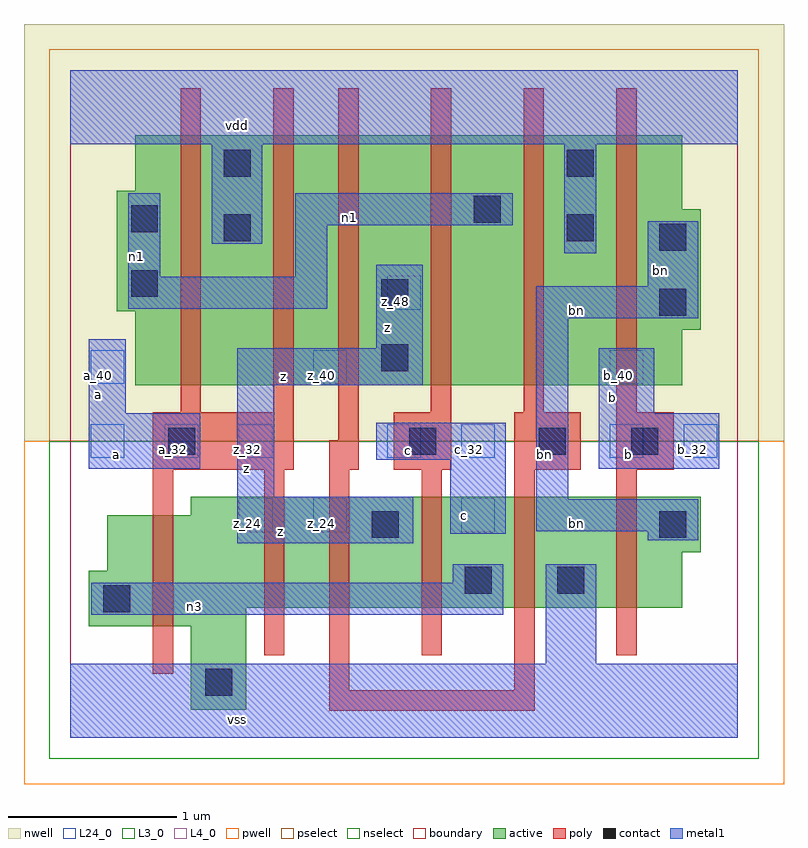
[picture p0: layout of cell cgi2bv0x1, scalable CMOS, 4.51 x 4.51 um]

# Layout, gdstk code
import gdstk
lib = gdstk.Library(unit=1e-6, precision=2.5e-09)
def R(c, l, rs):  # rectangles x0, y0, x1, y1
    for r in rs: c.add(gdstk.rectangle(r[:2], r[2:], *l))
def A(c, l, x, y, w, h, nx, ny, dx, dy):  # array of equal rectangles
    R(c, l, [(x+i*dx, y+j*dy, x+i*dx+w, y+j*dy+h) for i in range(nx) for j in range(ny)])
L3_0 = (3, 0)
L4_0 = (4, 0)
L24_0 = (24, 0)
contact = (25, 0)
pwell = (41, 0)
nwell = (42, 0)
active = (43, 0)
pselect = (44, 0)
nselect = (45, 0)
poly = (46, 0)
metal1 = (49, 0)
boundary = (63, 0)

cgi2bv0x1 = lib.new_cell('cgi2bv0x1')
R(cgi2bv0x1, L3_0, [(0.715,0.165,1.045,0.66), (0.11,0.66,1.045,0.77), (0.11,0.77,3.63,0.99), (0.22,0.99,3.63,1.1), (0.22,1.1,3.74,1.32), (0.715,1.32,3.74,1.43)])
R(cgi2bv0x1, L4_0, [(0.385,2.09,3.63,2.42), (0.385,2.42,3.74,2.53), (0.275,2.53,3.74,3.135), (0.275,3.135,3.63,3.245), (0.385,3.245,3.63,3.575)])
A(cgi2bv0x1, L24_0, 0.12, 1.66, 0.2, 0.2, 3, 1, 0.44, 0)
R(cgi2bv0x1, L24_0, [(1,1.22,1.2,1.42), (1.44,1.22,1.64,1.42), (2.32,1.22,2.52,1.42), (1.88,1.66,2.08,1.86), (2.32,1.66,2.52,1.86), (3.2,1.66,3.4,1.86), (3.64,1.66,3.84,1.86), (0.12,2.1,0.32,2.3), (1.44,2.1,1.64,2.3), (3.2,2.1,3.4,2.3), (1.88,2.54,2.08,2.74)])
R(cgi2bv0x1, contact, [(0.8,0.25,0.96,0.41), (0.195,0.745,0.355,0.905), (2.34,0.855,2.5,1.015), (2.89,0.855,3.05,1.015), (1.79,1.185,1.95,1.345), (3.495,1.185,3.655,1.345), (0.58,1.68,0.74,1.84), (2.01,1.68,2.17,1.84), (2.78,1.68,2.94,1.84), (3.33,1.68,3.49,1.84), (1.845,2.175,2.005,2.335), (3.495,2.505,3.655,2.665), (1.845,2.56,2.005,2.72), (0.36,2.615,0.52,2.775), (3.495,2.89,3.655,3.05), (0.91,2.945,1.07,3.105), (2.945,2.945,3.105,3.105), (0.36,3,0.52,3.16), (2.395,3.055,2.555,3.215), (0.91,3.33,1.07,3.49), (2.945,3.33,3.105,3.49)])
R(cgi2bv0x1, pwell, [(-0.275,-0.275,4.235,1.76)])
R(cgi2bv0x1, nwell, [(-0.275,1.76,4.235,4.235)])
R(cgi2bv0x1, active, [(0.715,0.165,1.045,0.66), (0.11,0.66,1.045,0.77), (0.11,0.77,3.63,0.99), (0.22,0.99,3.63,1.1), (0.22,1.1,3.74,1.32), (0.715,1.32,3.74,1.43), (0.385,2.09,3.63,2.42), (0.385,2.42,3.74,2.53), (0.275,2.53,3.74,3.135), (0.275,3.135,3.63,3.245), (0.385,3.245,3.63,3.575)])
R(cgi2bv0x1, pselect, [(-0.125,1.76,4.085,4.085)])
R(cgi2bv0x1, nselect, [(-0.125,-0.125,4.085,1.76)])
A(cgi2bv0x1, poly, 2.14, 1.93, 0.12, 1.925, 3, 1, 0.55, 0)
R(cgi2bv0x1, poly, [(1.535,0.16,2.755,0.28), (1.535,0.28,1.655,1.59), (2.635,0.28,2.755,1.59), (0.49,0.38,0.61,1.59), (1.15,0.49,1.27,1.59), (2.085,0.49,2.205,1.59), (3.24,0.49,3.36,1.59), (0.49,1.59,1.325,1.93), (1.535,1.59,1.71,1.765), (1.92,1.59,2.26,1.93), (2.635,1.59,3.03,1.93), (3.24,1.59,3.58,1.93), (1.59,1.765,1.71,3.855), (0.655,1.93,0.775,3.855), (1.205,1.93,1.325,3.855)])
R(cgi2bv0x1, metal1, [(0,0,3.96,0.44), (2.82,0.44,3.12,1.03), (0.125,0.73,2.57,0.92), (2.27,0.92,2.57,1.03), (0.99,1.155,2.035,1.43), (3.425,1.17,3.725,1.225), (2.255,1.21,2.585,1.65), (2.765,1.225,3.725,1.415), (2.765,1.415,2.955,2.49), (0.99,1.43,1.21,2.09), (0.11,1.595,0.77,1.925), (3.135,1.595,3.85,1.925), (1.815,1.65,2.585,1.87), (0.11,1.925,0.33,2.365), (3.135,1.925,3.465,2.31), (0.99,2.09,2.09,2.31), (1.815,2.31,2.09,2.805), (2.765,2.49,3.725,2.68), (0.345,2.545,1.525,2.735), (3.425,2.68,3.725,3.065), (0.345,2.735,0.535,3.23), (1.335,2.735,1.525,3.04), (2.93,2.875,3.12,3.52), (0.84,2.93,1.14,3.52), (1.335,3.04,2.625,3.23), (0,3.52,3.96,3.96)])
R(cgi2bv0x1, boundary, [(0,0,3.96,3.96)])
cgi2bv0x1.add(gdstk.Label('vss', (0.99,0.11), layer=49, texttype=0))
cgi2bv0x1.add(gdstk.Label('n3', (0.735,0.7775), layer=49, texttype=0))
cgi2bv0x1.add(gdstk.Label('bn', (3.005,1.2725), layer=49, texttype=0))
cgi2bv0x1.add(gdstk.Label('b', (3.3125,1.6775), layer=49, texttype=0))
cgi2bv0x1.add(gdstk.Label('b', (3.2175,2.02), layer=49, texttype=0))
cgi2bv0x1.add(gdstk.Label('bn', (2.8125,1.6825), layer=49, texttype=0))
cgi2bv0x1.add(gdstk.Label('c', (2.3375,1.32), layer=49, texttype=0))
cgi2bv0x1.add(gdstk.Label('z', (1.25,1.2225), layer=49, texttype=0))
cgi2bv0x1.add(gdstk.Label('c', (2.0075,1.705), layer=49, texttype=0))
cgi2bv0x1.add(gdstk.Label('z', (1.045,1.595), layer=49, texttype=0))
cgi2bv0x1.add(gdstk.Label('a', (0.275,1.6775), layer=49, texttype=0))
cgi2bv0x1.add(gdstk.Label('bn', (3.005,2.5375), layer=49, texttype=0))
cgi2bv0x1.add(gdstk.Label('z', (1.265,2.145), layer=49, texttype=0))
cgi2bv0x1.add(gdstk.Label('bn', (3.5,2.775), layer=49, texttype=0))
cgi2bv0x1.add(gdstk.Label('z', (1.8825,2.4325), layer=49, texttype=0))
cgi2bv0x1.add(gdstk.Label('a', (0.165,2.035), layer=49, texttype=0))
cgi2bv0x1.add(gdstk.Label('n1', (1.6575,3.0875), layer=49, texttype=0))
cgi2bv0x1.add(gdstk.Label('n1', (0.3925,2.8575), layer=49, texttype=0))
cgi2bv0x1.add(gdstk.Label('vdd', (0.99,3.63), layer=49, texttype=0))
cgi2bv0x1.add(gdstk.Label('b_32', (3.69,1.71), layer=24, texttype=0))
cgi2bv0x1.add(gdstk.Label('c_32', (2.37,1.71), layer=24, texttype=0))
cgi2bv0x1.add(gdstk.Label('b_32', (3.25,1.71), layer=24, texttype=0))
cgi2bv0x1.add(gdstk.Label('b_40', (3.25,2.15), layer=24, texttype=0))
cgi2bv0x1.add(gdstk.Label('a_32', (0.61,1.71), layer=24, texttype=0))
cgi2bv0x1.add(gdstk.Label('z_24', (1.05,1.27), layer=24, texttype=0))
cgi2bv0x1.add(gdstk.Label('z_32', (1.05,1.71), layer=24, texttype=0))
cgi2bv0x1.add(gdstk.Label('z_24', (1.49,1.27), layer=24, texttype=0))
cgi2bv0x1.add(gdstk.Label('z_40', (1.49,2.15), layer=24, texttype=0))
cgi2bv0x1.add(gdstk.Label('c_32', (1.93,1.71), layer=24, texttype=0))
cgi2bv0x1.add(gdstk.Label('z_48', (1.93,2.59), layer=24, texttype=0))
cgi2bv0x1.add(gdstk.Label('a_32', (0.17,1.71), layer=24, texttype=0))
cgi2bv0x1.add(gdstk.Label('a_40', (0.17,2.15), layer=24, texttype=0))
cgi2bv0x1.add(gdstk.Label('c_24', (2.37,1.27), layer=24, texttype=0))

lib.write_gds('cgi2bv0x1.gds')
